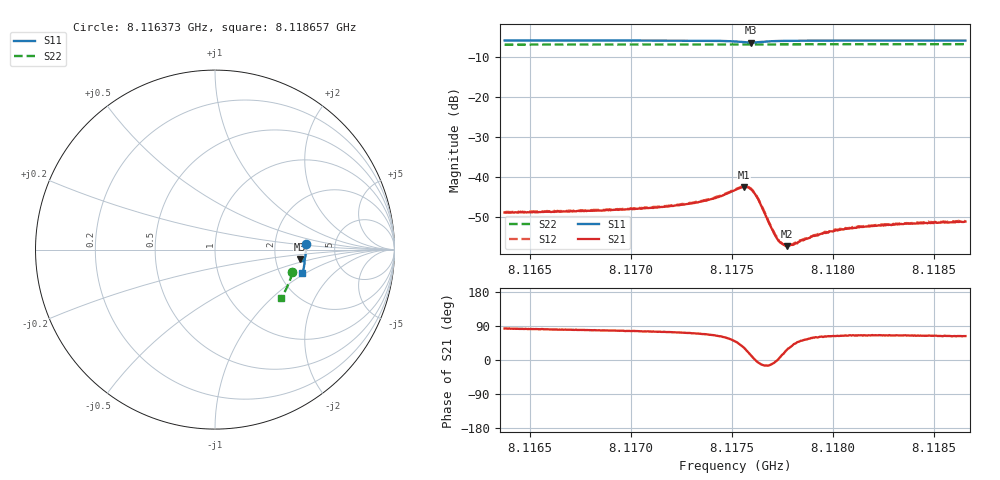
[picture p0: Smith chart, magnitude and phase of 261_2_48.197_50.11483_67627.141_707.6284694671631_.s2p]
#  HZ  S  RI  R  50.00
! Rohde & Schwarz Vector Network Analyzer
! Rohde-Schwarz,ZNB20-2Port,1311601062101988,3.16
! Created: UTC 3/20/2024, 11:47:46 AM
! freq[Hz]  re:S11  im:S11  re:S21  im:S21  re:S12  im:S12  re:S22  im:S22
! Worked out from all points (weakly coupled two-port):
!   401 points, 8.116373 GHz to 8.118657 GHz, reference 50 ohm
!   highest |S21| = -42.53 dB at 8.117561 GHz (marker M1); lowest = -57.3 dB at 8.117772 GHz (marker M2)
!   lowest |S11| = -6.4 dB at 8.117595 GHz (marker M3), VSWR 2.83, Z = 138 - j19.5 ohm
!   |S11| at or under -10 dB: nowhere
!   |S22| runs from -6.9 to -6.8 dB; largest |S21 - S12| = 0.00019
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8.1163733e9  0.506 0.0305  0.000428 0.00356  0.000525 0.00357  0.4311 -0.1271
8.1167557e9  0.5064 0.00148  0.000692 0.00368  0.000748 0.00374  0.4238 -0.1525
8.1171382e9  0.5046 -0.0288  0.00111 0.00403  0.00119 0.00405  0.415 -0.1777
8.1172695e9  0.5029 -0.0401  0.00142 0.00431  0.00149 0.00436  0.4115 -0.1864
8.1173665e9  0.5007 -0.049  0.00188 0.00467  0.00193 0.00475  0.4088 -0.1927
8.1174407e9  0.4972 -0.0568  0.00262 0.00506  0.00272 0.00514  0.4068 -0.1976
8.1175149e9  0.4885 -0.0642  0.00446 0.00518  0.00459 0.00525  0.4042 -0.2023
8.1175606e9  0.4786 -0.0631  0.00636 0.00393  0.00651 0.0039  0.4024 -0.2047
8.1175777e9  0.4754 -0.0595  0.00686 0.00278  0.007 0.00275  0.4019 -0.2056
8.1175949e9  0.4744 -0.0545  0.00682 0.00142  0.00696 0.0014  0.4015 -0.2064
8.117612e9  0.4763 -0.0497  0.00619 0.000192  0.00631 0.000162  0.4011 -0.2072
8.1176291e9  0.4801 -0.0466  0.00527 -0.000606  0.00531 -0.000644  0.4008 -0.2083
8.1176919e9  0.4929 -0.0496  0.00234 -0.000512  0.00237 -0.000543  0.3998 -0.2123
8.1177204e9  0.4957 -0.0534  0.00173 -7.54e-05  0.00179 -5.54e-05  0.3988 -0.2141
8.1177433e9  0.497 -0.0563  0.00147 0.000266  0.00149 0.00026  0.3983 -0.2157
8.1177718e9  0.4979 -0.0599  0.00121 0.000612  0.00124 0.00065  0.3976 -0.2175
8.1178061e9  0.4987 -0.0637  0.00106 0.000952  0.00113 0.000941  0.3964 -0.2198
8.1178974e9  0.4987 -0.073  0.000951 0.00153  0.000968 0.00154  0.3935 -0.2256
8.1180059e9  0.4978 -0.0826  0.000942 0.00188  0.000973 0.00195  0.3899 -0.2324
8.1181371e9  0.4962 -0.0933  0.001 0.00215  0.00101 0.00216  0.3854 -0.2405
8.1182798e9  0.4939 -0.1045  0.00104 0.00231  0.00109 0.0023  0.3804 -0.2489
8.1186566e9  0.4871 -0.1324  0.00125 0.00246  0.00128 0.00246  0.3662 -0.2715
